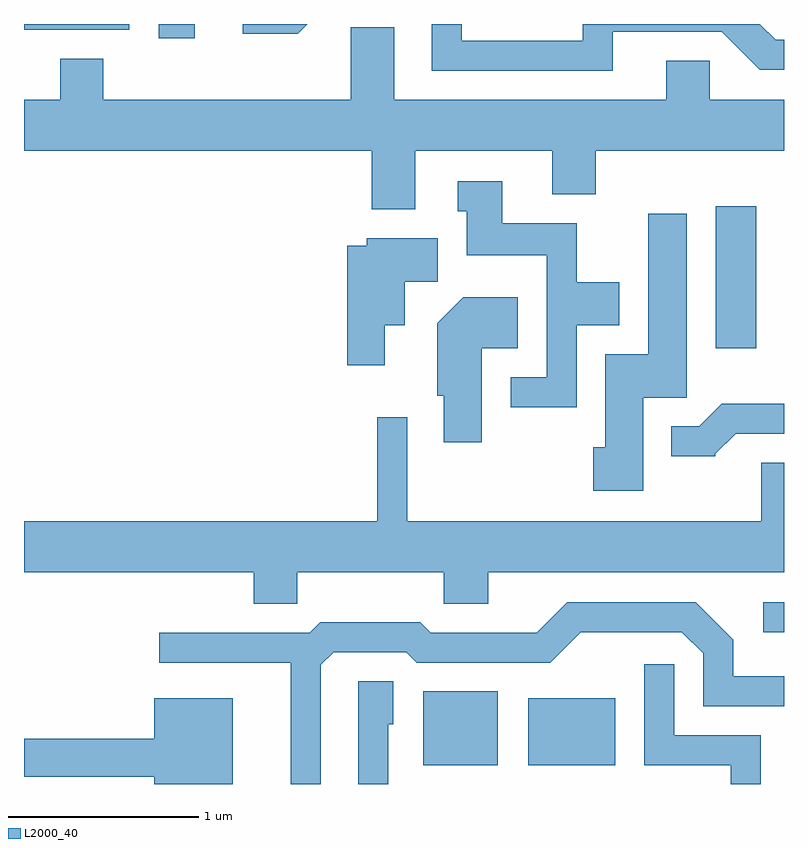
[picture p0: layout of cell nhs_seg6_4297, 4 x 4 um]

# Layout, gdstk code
import gdstk
lib = gdstk.Library(unit=1e-6, precision=1e-09)
def R(c, l, rs):  # rectangles x0, y0, x1, y1
    for r in rs: c.add(gdstk.rectangle(r[:2], r[2:], *l))
def P(c, l, *ps):  # polygons
    for p in ps: c.add(gdstk.Polygon(p, *l))
L2000_40 = (2000, 40)

nhs_seg6_4297 = lib.new_cell('nhs_seg6_4297')
R(nhs_seg6_4297, L2000_40, [(317.711,1642.261,318.104,1642.649), (318.266,1642.261,318.724,1642.614), (319.503,1642.961,319.611,1643.119), (319.251,1644.456,319.464,1645.204), (316.321,1646.086,316.509,1646.162), (315.611,1646.131,316.164,1646.162)])
P(nhs_seg6_4297, L2000_40, [(318.709,1646.121),(319.284,1646.121),(319.484,1645.921),(319.611,1645.921),(319.611,1646.079),(319.567,1646.079),(319.484,1646.162),(318.551,1646.162),(318.551,1646.074),(317.914,1646.074),(317.914,1646.162),(317.756,1646.162),(317.756,1645.916),(318.709,1645.916)],
  [(317.103,1646.162),(316.763,1646.162),(316.763,1646.111),(317.052,1646.111)],
  [(319.611,1645.764),(319.219,1645.764),(319.219,1645.969),(318.991,1645.969),(318.991,1645.764),(317.559,1645.764),(317.559,1646.144),(317.331,1646.144),(317.331,1645.764),(316.029,1645.764),(316.029,1645.979),(315.801,1645.979),(315.801,1645.764),(315.611,1645.764),(315.611,1645.496),(317.441,1645.496),(317.441,1645.186),(317.669,1645.186),(317.669,1645.496),(318.391,1645.496),(318.391,1645.266),(318.619,1645.266),(318.619,1645.496),(319.611,1645.496)],
  [(318.519,1644.576),(318.744,1644.576),(318.744,1644.804),(318.519,1644.804),(318.519,1645.114),(318.129,1645.114),(318.129,1645.334),(317.893,1645.334),(317.893,1645.176),(317.941,1645.176),(317.941,1644.946),(318.361,1644.946),(318.361,1644.304),(318.173,1644.304),(318.173,1644.146),(318.519,1644.146)],
  [(318.869,1644.196),(319.099,1644.196),(319.099,1645.164),(318.896,1645.164),(318.896,1644.424),(318.671,1644.424),(318.671,1643.934),(318.606,1643.934),(318.606,1643.706),(318.869,1643.706)],
  [(317.509,1644.576),(317.614,1644.576),(317.614,1644.806),(317.789,1644.806),(317.789,1645.034),(317.416,1645.034),(317.416,1644.994),(317.311,1644.994),(317.311,1644.366),(317.509,1644.366)],
  [(318.019,1644.456),(318.209,1644.456),(318.209,1644.724),(317.924,1644.724),(317.786,1644.587),(317.786,1644.206),(317.821,1644.206),(317.821,1643.961),(318.019,1643.961)],
  [(319.25,1643.9),(319.357,1644.006),(319.611,1644.006),(319.611,1644.164),(319.284,1644.164),(319.164,1644.044),(319.018,1644.044),(319.018,1643.886),(319.25,1643.886)],
  [(317.049,1643.276),(317.821,1643.276),(317.821,1643.111),(318.054,1643.111),(318.054,1643.276),(319.611,1643.276),(319.611,1643.854),(319.491,1643.854),(319.491,1643.544),(317.629,1643.544),(317.629,1644.093),(317.471,1644.093),(317.471,1643.544),(315.611,1643.544),(315.611,1643.276),(316.821,1643.276),(316.821,1643.111),(317.049,1643.111)],
  [(317.174,1642.789),(317.242,1642.856),(317.624,1642.856),(317.679,1642.801),(318.382,1642.801),(318.542,1642.961),(319.074,1642.961),(319.186,1642.849),(319.186,1642.571),(319.611,1642.571),(319.611,1642.729),(319.344,1642.729),(319.344,1642.922),(319.147,1643.119),(318.469,1643.119),(318.309,1642.959),(317.752,1642.959),(317.697,1643.014),(317.169,1643.014),(317.114,1642.959),(316.323,1642.959),(316.323,1642.801),(317.016,1642.801),(317.016,1642.162),(317.174,1642.162)],
  [(319.489,1642.419),(319.034,1642.419),(319.034,1642.793),(318.876,1642.793),(318.876,1642.261),(319.331,1642.261),(319.331,1642.162),(319.489,1642.162)],
  [(317.529,1642.476),(317.554,1642.476),(317.554,1642.704),(317.371,1642.704),(317.371,1642.162),(317.529,1642.162)],
  [(316.709,1642.614),(316.296,1642.614),(316.296,1642.399),(315.611,1642.399),(315.611,1642.201),(316.296,1642.201),(316.296,1642.162),(316.709,1642.162)])

lib.write_gds('nhs_seg6_4297.gds')
